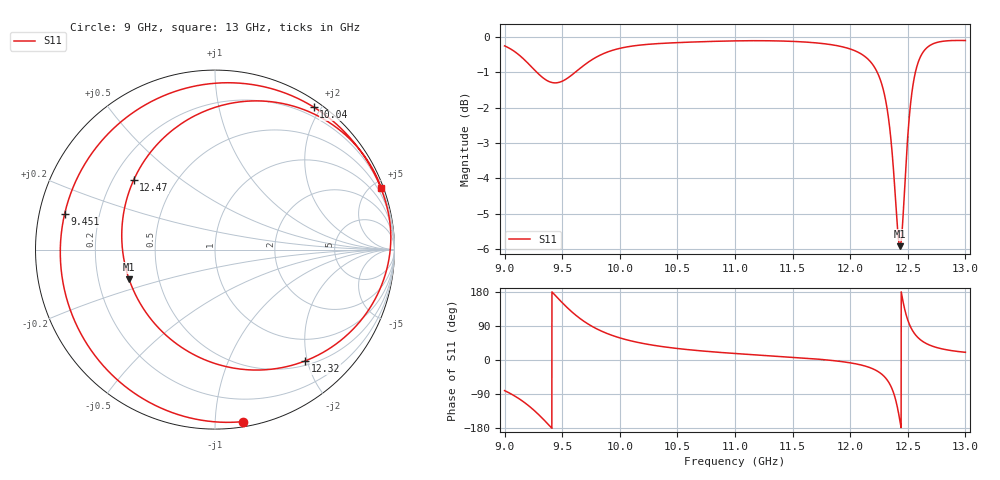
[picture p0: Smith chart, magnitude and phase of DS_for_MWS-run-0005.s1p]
! TOUCHSTONE file generated by CST DESIGN STUDIO
! Date and time: Tue Feb  4 18:45:10 2025
! Project name: C:\Work\MatlabApps\UnitCellOptimizationMatlab\CST\unitcell.cst
! Tree item: Tasks\Sweep1\SPara1\S-Parameters
! Header version: 2024
! Port assignment regex: !\s*Touchstone port\s*([0-9]+)\s*=\s*(CST MWS port|CST DES external port|CST DES block port)\s*(.+)\s* \(\"(.*)\"\)(\s*mode\s*([0-9]+))?.*
! Touchstone port assignment:
! Touchstone port 1 = CST DES external port 1 ("")
# GHz S MA R 50
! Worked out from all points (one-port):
!   4001 points, 9 GHz to 13 GHz, reference 50 ohm
!   lowest |S11| = -5.9 dB at 12.43 GHz (marker M1), VSWR 3.05, Z = 16.8 - j7.46 ohm
!   |S11| at or under -10 dB: nowhere
!   S11 on the Smith chart (normalised r, x): 9 GHz: 0.04, -1.17; 9.451 GHz: 0.08, +0.12; 10.04 GHz: 0.08, +1.91; 12.32 GHz: 0.57, -1.96; 12.47 GHz: 0.28, +0.34; 13 GHz: 0.20, +5.58
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9  0.9708 -80.8
9.122  0.9436 -101.5
9.223  0.9105 -124.3
9.347  0.8718 -159.7
9.451  0.861 166.8
9.5  0.8655 151.3
9.598  0.887 123.3
9.699  0.9141 100.0
9.846  0.9448 75.5
10  0.9631 58.3
10.035  0.9658 55.3
10.5  0.9812 30.3
11  0.9867 17.2
11.5  0.9851 7.2
12  0.9611 -7.4
12.207  0.9079 -24.7
12.269  0.8625 -36.2
12.317  0.7978 -51.1
12.382  0.6285 -91.8
12.407  0.5469 -121.0
12.432  0.5064 -161.0
12.469  0.5967 139.3
12.5  0.7249 105.3
12.531  0.8229 83.1
12.572  0.8995 64.5
12.655  0.9613 44.3
12.782  0.9842 30.4
13  0.9879 20.3
